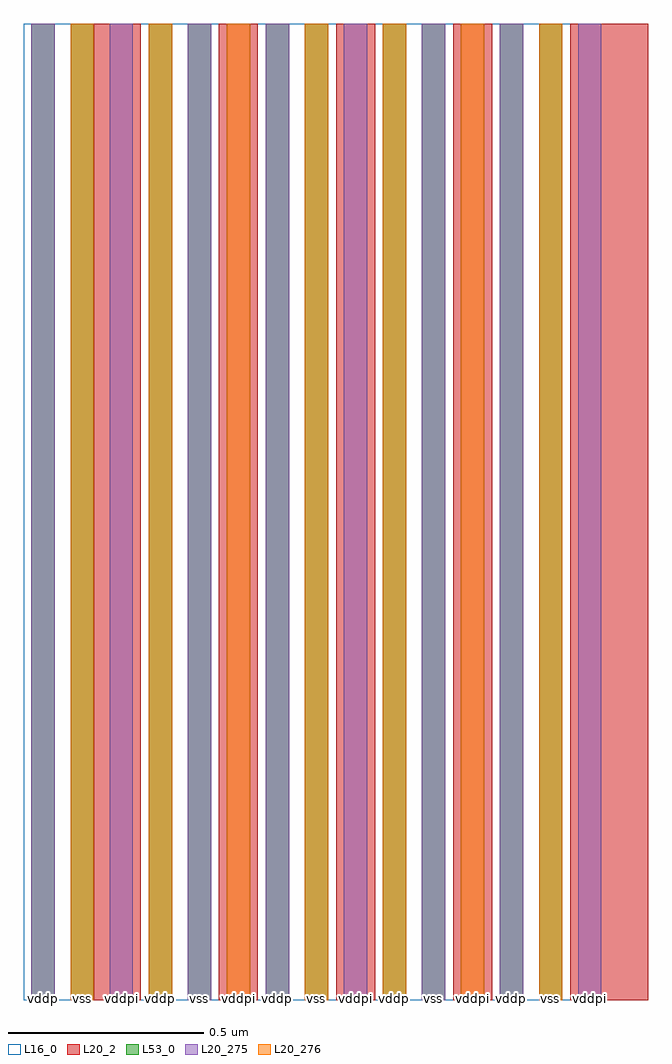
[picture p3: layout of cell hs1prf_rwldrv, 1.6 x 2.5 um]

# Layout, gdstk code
import gdstk
lib = gdstk.Library(unit=1e-6, precision=5e-10)
def R(c, l, rs):  # rectangles x0, y0, x1, y1
    for r in rs: c.add(gdstk.rectangle(r[:2], r[2:], *l))
def A(c, l, x, y, w, h, nx, ny, dx, dy):  # array of equal rectangles
    R(c, l, [(x+i*dx, y+j*dy, x+i*dx+w, y+j*dy+h) for i in range(nx) for j in range(ny)])
L16_0 = (16, 0)
L20_2 = (20, 2)
L20_275 = (20, 275)
L20_276 = (20, 276)
L53_0 = (53, 0)

hs1prf_rwldrv = lib.new_cell('hs1prf_rwldrv')
R(hs1prf_rwldrv, L16_0, [(0,0,1.6,2.5)])
A(hs1prf_rwldrv, L20_2, 0.5, 0, 0.1, 2.5, 3, 1, 0.3, 0)
R(hs1prf_rwldrv, L20_2, [(0.18,0,0.3,2.5), (1.4,0,1.6,2.5)])
R(hs1prf_rwldrv, L53_0, [(0.02,0,0.08,2.5), (0.12,0,0.18,2.5), (0.32,0,0.38,2.5), (0.42,0,0.48,2.5), (0.62,0,0.68,2.5), (0.72,0,0.78,2.5), (0.92,0,0.98,2.5), (1.02,0,1.08,2.5), (1.22,0,1.28,2.5), (1.32,0,1.38,2.5)])
hs1prf_rwldrv.add(gdstk.FlexPath([(0.05,0),(0.05,2.5)], 0.06, ends="flush", simple_path=True, layer=20, datatype=275))  # L20_275
hs1prf_rwldrv.add(gdstk.FlexPath([(0.15,0),(0.15,2.5)], 0.06, ends="flush", simple_path=True, layer=20, datatype=276))  # L20_276
hs1prf_rwldrv.add(gdstk.FlexPath([(0.25,0),(0.25,2.5)], 0.06, ends="flush", simple_path=True, layer=20, datatype=275))  # L20_275
hs1prf_rwldrv.add(gdstk.FlexPath([(0.35,0),(0.35,2.5)], 0.06, ends="flush", simple_path=True, layer=20, datatype=276))  # L20_276
hs1prf_rwldrv.add(gdstk.FlexPath([(0.45,0),(0.45,2.5)], 0.06, ends="flush", simple_path=True, layer=20, datatype=275))  # L20_275
hs1prf_rwldrv.add(gdstk.FlexPath([(0.55,0),(0.55,2.5)], 0.06, ends="flush", simple_path=True, layer=20, datatype=276))  # L20_276
hs1prf_rwldrv.add(gdstk.FlexPath([(0.65,0),(0.65,2.5)], 0.06, ends="flush", simple_path=True, layer=20, datatype=275))  # L20_275
hs1prf_rwldrv.add(gdstk.FlexPath([(0.75,0),(0.75,2.5)], 0.06, ends="flush", simple_path=True, layer=20, datatype=276))  # L20_276
hs1prf_rwldrv.add(gdstk.FlexPath([(0.85,0),(0.85,2.5)], 0.06, ends="flush", simple_path=True, layer=20, datatype=275))  # L20_275
hs1prf_rwldrv.add(gdstk.FlexPath([(0.95,0),(0.95,2.5)], 0.06, ends="flush", simple_path=True, layer=20, datatype=276))  # L20_276
hs1prf_rwldrv.add(gdstk.FlexPath([(1.05,0),(1.05,2.5)], 0.06, ends="flush", simple_path=True, layer=20, datatype=275))  # L20_275
hs1prf_rwldrv.add(gdstk.FlexPath([(1.15,0),(1.15,2.5)], 0.06, ends="flush", simple_path=True, layer=20, datatype=276))  # L20_276
hs1prf_rwldrv.add(gdstk.FlexPath([(1.25,0),(1.25,2.5)], 0.06, ends="flush", simple_path=True, layer=20, datatype=275))  # L20_275
hs1prf_rwldrv.add(gdstk.FlexPath([(1.35,0),(1.35,2.5)], 0.06, ends="flush", simple_path=True, layer=20, datatype=276))  # L20_276
hs1prf_rwldrv.add(gdstk.FlexPath([(1.45,0),(1.45,2.5)], 0.06, ends="flush", simple_path=True, layer=20, datatype=275))  # L20_275
hs1prf_rwldrv.add(gdstk.Label('vddp', (0.05,0.005), layer=60, texttype=0))
hs1prf_rwldrv.add(gdstk.Label('vss', (0.15,0.005), layer=60, texttype=0))
hs1prf_rwldrv.add(gdstk.Label('vddpi', (0.25,0.005), layer=60, texttype=0))
hs1prf_rwldrv.add(gdstk.Label('vddp', (0.35,0.005), layer=60, texttype=0))
hs1prf_rwldrv.add(gdstk.Label('vss', (0.45,0.005), layer=60, texttype=0))
hs1prf_rwldrv.add(gdstk.Label('vddpi', (0.55,0.005), layer=60, texttype=0))
hs1prf_rwldrv.add(gdstk.Label('vddp', (0.65,0.005), layer=60, texttype=0))
hs1prf_rwldrv.add(gdstk.Label('vss', (0.75,0.005), layer=60, texttype=0))
hs1prf_rwldrv.add(gdstk.Label('vddpi', (0.85,0.005), layer=60, texttype=0))
hs1prf_rwldrv.add(gdstk.Label('vddp', (0.95,0.005), layer=60, texttype=0))
hs1prf_rwldrv.add(gdstk.Label('vss', (1.05,0.005), layer=60, texttype=0))
hs1prf_rwldrv.add(gdstk.Label('vddpi', (1.15,0.005), layer=60, texttype=0))
hs1prf_rwldrv.add(gdstk.Label('vddp', (1.25,0.005), layer=60, texttype=0))
hs1prf_rwldrv.add(gdstk.Label('vss', (1.35,0.005), layer=60, texttype=0))
hs1prf_rwldrv.add(gdstk.Label('vddpi', (1.45,0.005), layer=60, texttype=0))

lib.write_gds('hs1prf_rwldrv.gds')
